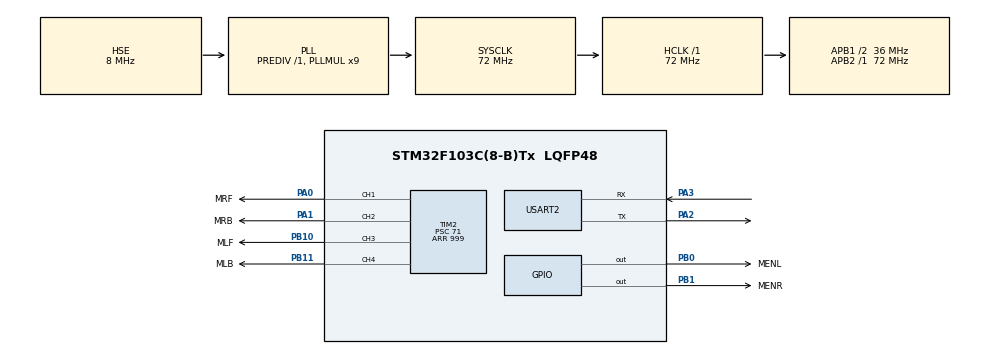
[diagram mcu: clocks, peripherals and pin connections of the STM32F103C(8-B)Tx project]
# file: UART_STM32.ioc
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Mcu.Family=STM32F1
Mcu.Name=STM32F103C(8-B)Tx
Mcu.Package=LQFP48
NVIC.PriorityGroup=NVIC_PRIORITYGROUP_4
PA0-WKUP.GPIO_Label=MRF
PA0-WKUP.Signal=S_TIM2_CH1_ETR
PA1.GPIO_Label=MRB
PA1.Signal=S_TIM2_CH2
PA13.Mode=Serial_Wire
PA13.Signal=SYS_JTMS-SWDIO
PA14.Mode=Serial_Wire
PA14.Signal=SYS_JTCK-SWCLK
PA2.Mode=Asynchronous
PA2.Signal=USART2_TX
PA3.Mode=Asynchronous
PA3.Signal=USART2_RX
PB0.GPIO_Label=MENL
PB0.Signal=GPIO_Output
PB1.GPIO_Label=MENR
PB1.Signal=GPIO_Output
PB10.GPIO_Label=MLF
PB10.Signal=S_TIM2_CH3
PB11.GPIO_Label=MLB
PB11.Signal=S_TIM2_CH4
PD0-OSC_IN.Mode=HSE-External-Oscillator
PD0-OSC_IN.Signal=RCC_OSC_IN
PD1-OSC_OUT.Mode=HSE-External-Oscillator
PD1-OSC_OUT.Signal=RCC_OSC_OUT
ProjectManager.HeapSize=0x200
ProjectManager.StackSize=0x400
ProjectManager.TargetToolchain=STM32CubeIDE
RCC.AHBFreq_Value=72000000
RCC.APB1CLKDivider=RCC_HCLK_DIV2
RCC.APB1Freq_Value=36000000
RCC.APB1TimFreq_Value=72000000
RCC.APB2Freq_Value=72000000
RCC.APB2TimFreq_Value=72000000
RCC.HCLKFreq_Value=72000000
RCC.PLLMUL=RCC_PLL_MUL9
RCC.PLLSourceVirtual=RCC_PLLSOURCE_HSE
RCC.SYSCLKFreq_VALUE=72000000
RCC.SYSCLKSource=RCC_SYSCLKSOURCE_PLLCLK
RCC.USBFreq_Value=72000000
SH.S_TIM2_CH1_ETR.0=TIM2_CH1,PWM Generation1 CH1
SH.S_TIM2_CH2.0=TIM2_CH2,PWM Generation2 CH2
SH.S_TIM2_CH3.0=TIM2_CH3,PWM Generation3 CH3
SH.S_TIM2_CH4.0=TIM2_CH4,PWM Generation4 CH4
TIM2.Channel-PWM\ Generation1\ CH1=TIM_CHANNEL_1
TIM2.Channel-PWM\ Generation2\ CH2=TIM_CHANNEL_2
TIM2.Channel-PWM\ Generation3\ CH3=TIM_CHANNEL_3
TIM2.Channel-PWM\ Generation4\ CH4=TIM_CHANNEL_4
TIM2.Period=999
TIM2.Prescaler=71
USART2.VirtualMode=VM_ASYNC
board=custom

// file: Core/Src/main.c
/* USER CODE BEGIN Header */
/**
  ******************************************************************************
  * @file           : main.c
  * @brief          : Main program body
  ******************************************************************************
  * @attention
  *
  * Copyright (c) 2025 STMicroelectronics.
  * All rights reserved.
  *
  * This software is licensed under terms that can be found in the LICENSE file
  * in the root directory of this software component.
  * If no LICENSE file comes with this software, it is provided AS-IS.
  *
  ******************************************************************************
  */
/* USER CODE END Header */
#include "main.h"

/* USER CODE BEGIN Includes */
#include <string.h>
#include <stdbool.h>
/* USER CODE END Includes */

TIM_HandleTypeDef htim2;

UART_HandleTypeDef huart2;

/* USER CODE BEGIN PV */

/** UART **/
uint8_t rx_byte;
char rx_buffer[16];
uint8_t idx = 0;

volatile bool pong_received = false;
volatile uint32_t last_ping_time = 0;
const uint32_t TIMEOUT_MS = 2000;

/** MOTORES **/
typedef struct {
    int last_direction;
    int last_pwm;
} motor_state_t;

motor_state_t motorA = {0, 0};
motor_state_t motorB = {0, 0};

/* USER CODE END PV */

void SystemClock_Config(void);
static void MX_GPIO_Init(void);
static void MX_USART2_UART_Init(void);
static void MX_TIM2_Init(void);
/* USER CODE BEGIN PFP */
void HAL_UART_RxCpltCallback(UART_HandleTypeDef *huart);
/* USER CODE END PFP */

/* USER CODE BEGIN 0 */
void HAL_UART_RxCpltCallback(UART_HandleTypeDef *huart)
{
    if (huart->Instance == USART2)
    {
        if (rx_byte != '\n' && idx < sizeof(rx_buffer)-1)
        {
            rx_buffer[idx++] = rx_byte;
        }
        else
        {
            rx_buffer[idx] = '\0';
            idx = 0;

            if (strncmp((char*)rx_buffer, "PING", 4) == 0)
            {
                char *pong = "PONG\n";
                HAL_UART_Transmit(&huart2, (uint8_t*)pong, strlen(pong), 20);
            }
            else if (strncmp((char*)rx_buffer, "PONG", 4) == 0)
            {
                pong_received = true;
                last_ping_time = HAL_GetTick(); // Reinicia timeout
            }
        }

        HAL_UART_Receive_IT(&huart2, &rx_byte, 1);
    }
}

void motor_control(uint8_t motor_id, int pwm, int direction)
{
    TIM_HandleTypeDef *htim = &htim2;

    // Selección de canales y pines EN
    uint32_t ch1, ch2;
    uint16_t en_pin;
    GPIO_TypeDef *en_port = GPIOB;
    motor_state_t *motor;

    if (motor_id == 0) {
        // Motor Right --> PA0 (CH1) y PA1 (CH2)
        ch1 = TIM_CHANNEL_1;   // MRF
        ch2 = TIM_CHANNEL_2;   // MRB
        en_pin = MENR_Pin;
        motor = &motorA;
    } else {
        // Motor Left --> PB10 (CH3) y PB11 (CH4)
        ch1 = TIM_CHANNEL_3;   // MLF
        ch2 = TIM_CHANNEL_4;   // MLB
        en_pin = MENL_Pin;
        motor = &motorB;
    }

    // Si PWM = 0 --> apagar motor
    if (pwm <= 0) {
        HAL_GPIO_WritePin(en_port, en_pin, GPIO_PIN_RESET);

        __HAL_TIM_SET_COMPARE(htim, ch1, 0);
        __HAL_TIM_SET_COMPARE(htim, ch2, 0);

        motor->last_direction = 0;
        motor->last_pwm = 0;
        return;
    }

    // Detectar cambio de sentido --> aplicar Dead Time
    if (direction != motor->last_direction && motor->last_direction != 0) {
        __HAL_TIM_SET_COMPARE(htim, ch1, 0);
        __HAL_TIM_SET_COMPARE(htim, ch2, 0);
        HAL_Delay(1); // Dead time 1 ms por seguridad
    }

    // Activar enable del motor
    HAL_GPIO_WritePin(en_port, en_pin, GPIO_PIN_SET);

    // Aplicar PWM según dirección
    if (direction > 0) {
        // Forward
    	__HAL_TIM_SET_COMPARE(htim, ch2, 0);
        __HAL_TIM_SET_COMPARE(htim, ch1, pwm);
    } else {
        // Backward
        __HAL_TIM_SET_COMPARE(htim, ch1, 0);
        __HAL_TIM_SET_COMPARE(htim, ch2, pwm);
    }

    motor->last_direction = direction;
    motor->last_pwm = pwm;
}

/* USER CODE END 0 */

int main(void)
{

  /* MCU Configuration--------------------------------------------------------*/

  /* Reset of all peripherals, Initializes the Flash interface and the Systick. */
  HAL_Init();

  /* Configure the system clock */
  SystemClock_Config();

  /* Initialize all configured peripherals */
  MX_GPIO_Init();
  MX_USART2_UART_Init();
  MX_TIM2_Init();
  /* USER CODE BEGIN 2 */

  // Inicializar PWM apagados
  HAL_TIM_PWM_Start(&htim2, TIM_CHANNEL_1);
  HAL_TIM_PWM_Start(&htim2, TIM_CHANNEL_2);
  HAL_TIM_PWM_Start(&htim2, TIM_CHANNEL_3);
  HAL_TIM_PWM_Start(&htim2, TIM_CHANNEL_4);

  __HAL_TIM_SET_COMPARE(&htim2, TIM_CHANNEL_1, 0);
  __HAL_TIM_SET_COMPARE(&htim2, TIM_CHANNEL_2, 0);
  __HAL_TIM_SET_COMPARE(&htim2, TIM_CHANNEL_3, 0);
  __HAL_TIM_SET_COMPARE(&htim2, TIM_CHANNEL_4, 0);

  HAL_UART_Receive_IT(&huart2, &rx_byte, 1);

  last_ping_time = HAL_GetTick();

  // UART INICIALIZADO, APAGO LOS PWM Y LOS PINES DE ENABLE MOTOR

  /* USER CODE END 2 */

  /* Infinite loop */
  while (1)
  {

    /* USER CODE BEGIN 3 */
//	uint32_t now = HAL_GetTick();
//
//	// Si llegó PONG → enviar otro PING
//	if (pong_received)
//	{
//	  char *ping = "PING\n";
//	  HAL_UART_Transmit(&huart2, (uint8_t*)ping, strlen(ping), 20);
//	  pong_received = false;
//	  last_ping_time = now;
//	}
//
//	// Timeout → reintentar PING
//	if ((now - last_ping_time) >= TIMEOUT_MS)
//	{
//	  char *ping = "PING\n";
//	  HAL_UART_Transmit(&huart2, (uint8_t*)ping, strlen(ping), 20);
//	  last_ping_time = now;
//	}

	    // --- Paso 1: Motores apagados ---
	    motor_control(0, 0, 0);
	    motor_control(1, 0, 0);
	    HAL_Delay(500);

	    // --- Paso 2: Ambos motores al 30% adelante ---
	    motor_control(0, 300, 1);
	    motor_control(1, 300, 1);
	    HAL_Delay(1200);

	    // --- Paso 3: Ambos al 100% adelante ---
	    motor_control(0, 999, 1);
	    motor_control(1, 999, 1);
	    HAL_Delay(1000);

	    // --- Paso 4: Motor Right apagado ---
	    motor_control(0, 0, 0);
	    HAL_Delay(500);

	    // --- Paso 5: Motor Left retroceso 40% ---
	    motor_control(1, 400, -1);
	    HAL_Delay(800);

	    // --- Paso 6: Ambos retroceso 100% ---
	    motor_control(0, 999, -1);
	    motor_control(1, 999, -1);
	    HAL_Delay(1200);

	    // --- Paso 7: Motores apagados ---
	    motor_control(0, 0, 0);
	    motor_control(1, 0, 0);
	    HAL_Delay(600);
  }
  /* USER CODE END 3 */
}

void SystemClock_Config(void)
{
  RCC_OscInitTypeDef RCC_OscInitStruct = {0};
  RCC_ClkInitTypeDef RCC_ClkInitStruct = {0};

  /** Initializes the RCC Oscillators according to the specified parameters
  * in the RCC_OscInitTypeDef structure.
  */
  RCC_OscInitStruct.OscillatorType = RCC_OSCILLATORTYPE_HSE;
  RCC_OscInitStruct.HSEState = RCC_HSE_ON;
  RCC_OscInitStruct.HSEPredivValue = RCC_HSE_PREDIV_DIV1;
  RCC_OscInitStruct.HSIState = RCC_HSI_ON;
  RCC_OscInitStruct.PLL.PLLState = RCC_PLL_ON;
  RCC_OscInitStruct.PLL.PLLSource = RCC_PLLSOURCE_HSE;
  RCC_OscInitStruct.PLL.PLLMUL = RCC_PLL_MUL9;
  if (HAL_RCC_OscConfig(&RCC_OscInitStruct) != HAL_OK)
  {
    Error_Handler();
  }

  /** Initializes the CPU, AHB and APB buses clocks
  */
  RCC_ClkInitStruct.ClockType = RCC_CLOCKTYPE_HCLK|RCC_CLOCKTYPE_SYSCLK
                              |RCC_CLOCKTYPE_PCLK1|RCC_CLOCKTYPE_PCLK2;
  RCC_ClkInitStruct.SYSCLKSource = RCC_SYSCLKSOURCE_PLLCLK;
  RCC_ClkInitStruct.AHBCLKDivider = RCC_SYSCLK_DIV1;
  RCC_ClkInitStruct.APB1CLKDivider = RCC_HCLK_DIV2;
  RCC_ClkInitStruct.APB2CLKDivider = RCC_HCLK_DIV1;

  if (HAL_RCC_ClockConfig(&RCC_ClkInitStruct, FLASH_LATENCY_2) != HAL_OK)
  {
    Error_Handler();
  }
}

static void MX_TIM2_Init(void)
{

  TIM_MasterConfigTypeDef sMasterConfig = {0};
  TIM_OC_InitTypeDef sConfigOC = {0};

  htim2.Instance = TIM2;
  htim2.Init.Prescaler = 71;
  htim2.Init.CounterMode = TIM_COUNTERMODE_UP;
  htim2.Init.Period = 999;
  htim2.Init.ClockDivision = TIM_CLOCKDIVISION_DIV1;
  htim2.Init.AutoReloadPreload = TIM_AUTORELOAD_PRELOAD_DISABLE;
  if (HAL_TIM_PWM_Init(&htim2) != HAL_OK)
  {
    Error_Handler();
  }
  sMasterConfig.MasterOutputTrigger = TIM_TRGO_RESET;
  sMasterConfig.MasterSlaveMode = TIM_MASTERSLAVEMODE_DISABLE;
  if (HAL_TIMEx_MasterConfigSynchronization(&htim2, &sMasterConfig) != HAL_OK)
  {
    Error_Handler();
  }
  sConfigOC.OCMode = TIM_OCMODE_PWM1;
  sConfigOC.Pulse = 0;
  sConfigOC.OCPolarity = TIM_OCPOLARITY_HIGH;
  sConfigOC.OCFastMode = TIM_OCFAST_DISABLE;
  if (HAL_TIM_PWM_ConfigChannel(&htim2, &sConfigOC, TIM_CHANNEL_1) != HAL_OK)
  {
    Error_Handler();
  }
  if (HAL_TIM_PWM_ConfigChannel(&htim2, &sConfigOC, TIM_CHANNEL_2) != HAL_OK)
  {
    Error_Handler();
  }
  if (HAL_TIM_PWM_ConfigChannel(&htim2, &sConfigOC, TIM_CHANNEL_3) != HAL_OK)
  {
    Error_Handler();
  }
  if (HAL_TIM_PWM_ConfigChannel(&htim2, &sConfigOC, TIM_CHANNEL_4) != HAL_OK)
  {
    Error_Handler();
  }
  HAL_TIM_MspPostInit(&htim2);

}

static void MX_USART2_UART_Init(void)
{

  huart2.Instance = USART2;
  huart2.Init.BaudRate = 115200;
  huart2.Init.WordLength = UART_WORDLENGTH_8B;
  huart2.Init.StopBits = UART_STOPBITS_1;
  huart2.Init.Parity = UART_PARITY_NONE;
  huart2.Init.Mode = UART_MODE_TX_RX;
  huart2.Init.HwFlowCtl = UART_HWCONTROL_NONE;
  huart2.Init.OverSampling = UART_OVERSAMPLING_16;
  if (HAL_UART_Init(&huart2) != HAL_OK)
  {
    Error_Handler();
  }

}

static void MX_GPIO_Init(void)
{
  GPIO_InitTypeDef GPIO_InitStruct = {0};

  /* GPIO Ports Clock Enable */
  __HAL_RCC_GPIOD_CLK_ENABLE();
  __HAL_RCC_GPIOA_CLK_ENABLE();
  __HAL_RCC_GPIOB_CLK_ENABLE();

  /*Configure GPIO pin Output Level */
  HAL_GPIO_WritePin(GPIOB, MENL_Pin|MENR_Pin, GPIO_PIN_RESET);

  /*Configure GPIO pins : MENL_Pin MENR_Pin */
  GPIO_InitStruct.Pin = MENL_Pin|MENR_Pin;
  GPIO_InitStruct.Mode = GPIO_MODE_OUTPUT_PP;
  GPIO_InitStruct.Pull = GPIO_NOPULL;
  GPIO_InitStruct.Speed = GPIO_SPEED_FREQ_LOW;
  HAL_GPIO_Init(GPIOB, &GPIO_InitStruct);

}

void Error_Handler(void)
{
  __disable_irq();
  while (1)
  {
  }
}
